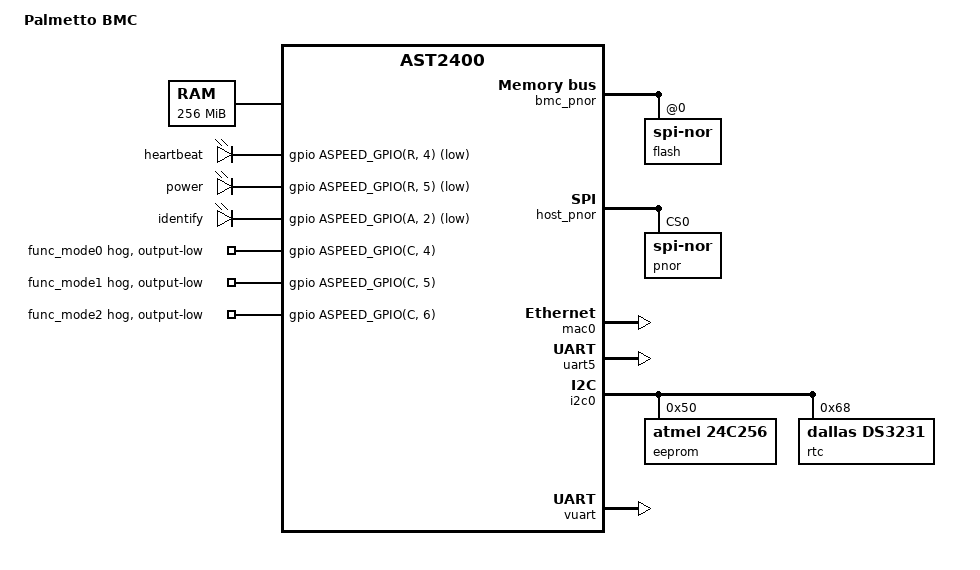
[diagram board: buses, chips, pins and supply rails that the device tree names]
//mss: hardcode (could get from XML if necessary)
/dts-v1/;

//mss:  hardcode based on BMC type for now
//      maybe eventually build contents from MRW too
#include "aspeed-g4.dtsi"

//mss: hardcode
#include <dt-bindings/gpio/aspeed-gpio.h>

/ {
    //mss: Get from machine name
	model = "Palmetto BMC";

    //mss: Could either build based on system and chip manufacturers and models
    //     make a 'compatible' attribute in the MRW
	compatible = "tyan,palmetto-bmc", "aspeed,ast2400";

    //mss:  How would someone know this is needed?
	aliases {
		serial4 = &uart5;
	};

    //mss:  Add a 'chosen' complex attribute that contains stdout-path and bootargs
    //      attributes
	chosen {
		stdout-path = &uart5;
		bootargs = "console=ttyS4,115200 earlyprintk";
	};

    //mss:  Add memory complex attribute that contains base address and size
	memory {
		reg = <0x40000000 0x10000000>;
	};

        //mss:  GPIO LEDs are be modeled as connections in the MRW, with one
        //      endpoint being the BMC and another an LED part.  The LED part
        //      would have function and active-state attributes.
        leds {
                compatible = "gpio-leds";

                heartbeat {
                        gpios = <&gpio ASPEED_GPIO(R, 4) GPIO_ACTIVE_LOW>;
                };

                power {
                        gpios = <&gpio ASPEED_GPIO(R, 5) GPIO_ACTIVE_LOW>;
                };

                identify {
                        gpios = <&gpio ASPEED_GPIO(A, 2) GPIO_ACTIVE_LOW>;
                };
        };


    //mss: Could model the ahb unit in the MRW hierarchy, with the 
    //     bmc_pnor and host_pnor child units.  Or could just have as an attribute
    //     in the bmc_pnor/host_pnor units, like parent-unit = ahb
	ahb {
        //mss: model as a subunit of the BMC, with all the necessary attributes
		bmc_pnor: fmc@1e620000 {
			reg = < 0x1e620000 0x94
				0x20000000 0x02000000 >;
			#address-cells = <1>;
			#size-cells = <0>;
			compatible = "aspeed,ast2400-fmc";
			flash@0 {
				reg = < 0 >;
				compatible = "jedec,spi-nor" ;

//mss: hardcode, though could also get from attributes
#include "aspeed-bmc-opp-flash-layout.dtsi"
			};
		};

        //mss: model as a subunit of the BMC, with all the necessary attributes
		host_pnor: spi@1e630000 {
			reg = < 0x1e630000 0x18
				0x30000000 0x02000000 >;
			#address-cells = <1>;
			#size-cells = <0>;
			compatible = "aspeed,ast2400-smc";
			flash {
				reg = < 0 >;
				compatible = "jedec,spi-nor" ;
				label = "pnor";
			};
		};
	};
};

//mss:  Not sure yet how to handle this... especially if these names
//      are tied to something in code
&pinctrl {
	pinctrl-names = "default";
	pinctrl-0 = <&pinctrl_flbusy_default &pinctrl_flwp_default

			&pinctrl_vgahs_default &pinctrl_vgavs_default
			&pinctrl_ddcclk_default &pinctrl_ddcdat_default

			&pinctrl_pwm1_default &pinctrl_pwm2_default
			&pinctrl_pwm3_default &pinctrl_pwm4_default
			&pinctrl_pwm5_default &pinctrl_pwm6_default
			&pinctrl_pwm7_default

			&pinctrl_bmcint_default &pinctrl_flack_default>;
};

&mac0 {
	status = "okay";

    //mss:  add boolean MRW NCSI attribute, convert to use-ncsi
    //unsure how to add the pinctlr sections I've seen in firestone
	use-ncsi;

    //mss: add MRW attribute
	no-hw-checksum;
};


//mss: Enable uart that MRW shows is in use
&uart5 {
	status = "okay";
};

//mss:  I2C buses are modeled in the MRW.  The slave part XML would contain the 
//      'compatible' attribute, and any other attributes the binding requires.  
//      The I2C address is saved in the reg property
//      If no devices are found on the bus, would leave status = "disabled"
//
//      If there are no device drivers for a certain chip, I assume it can still
//      be listed here.
&i2c0 {
	status = "okay";

	eeprom@50 {
		compatible = "atmel,24c256";
		reg = <0x50>;
		pagesize = <64>;
	};

	rtc@68 {
		compatible = "dallas,ds3231";
		reg = <0x68>;
		// interrupts = <GPIOF0>
	};
};



//mss: The MRW would have a way to define GPIO initializions, much
//     like the FSP does today.
&gpio {
	pin_func_mode0 {
		gpio-hog;
		gpios = <ASPEED_GPIO(C, 4) GPIO_ACTIVE_HIGH>;
		output-low;
		line-name = "func_mode0";
	};

	pin_func_mode1 {
		gpio-hog;
		gpios = <ASPEED_GPIO(C, 5)  GPIO_ACTIVE_HIGH>;
		output-low;
		line-name = "func_mode1";
	};

	pin_func_mode2 {
		gpio-hog;
		gpios = <ASPEED_GPIO(C, 6) GPIO_ACTIVE_HIGH>;
		output-low;
		line-name = "func_mode2";
	};
};

//mss:  always "okay"?
&vuart {
	status = "okay";
};
